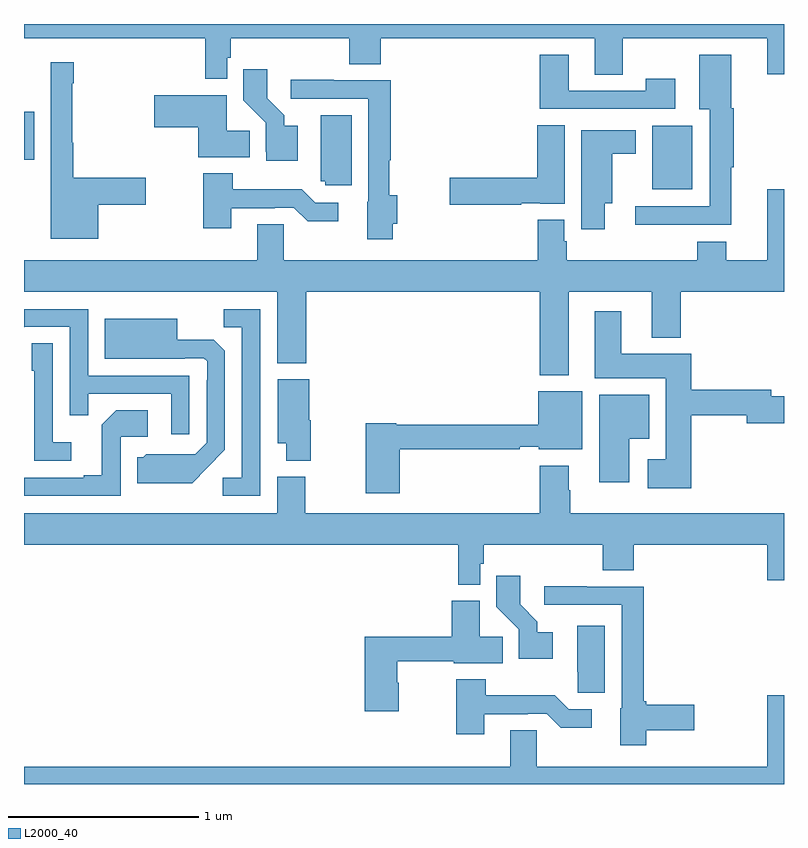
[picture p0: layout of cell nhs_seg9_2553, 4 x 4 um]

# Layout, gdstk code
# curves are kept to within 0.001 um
import gdstk
lib = gdstk.Library(unit=1e-6, precision=1e-09)
def R(c, l, rs):  # rectangles x0, y0, x1, y1
    for r in rs: c.add(gdstk.rectangle(r[:2], r[2:], *l))
def P(c, l, *ps):  # polygons
    for p in ps: c.add(gdstk.Polygon(p, *l))
L2000_40 = (2000, 40)

nhs_seg9_2553 = lib.new_cell('nhs_seg9_2553')
R(nhs_seg9_2553, L2000_40, [(260.306,1191.629,260.518,1191.964), (257,1191.785,257.053,1192.039)])
P(nhs_seg9_2553, L2000_40, [(258.069,1192.323),(258.089,1192.323),(258.089,1192.424),(258.713,1192.424),(258.713,1192.288),(258.878,1192.288),(258.878,1192.424),(260.003,1192.424),(260.003,1192.234),(260.151,1192.234),(260.151,1192.424),(260.912,1192.424),(260.912,1192.236),(261,1192.236),(261,1192.5),(257,1192.5),(257,1192.424),(257.953,1192.424),(257.953,1192.211),(258.069,1192.211)],
  [(260.428,1192.213),(260.272,1192.213),(260.272,1192.149),(259.867,1192.149),(259.867,1192.339),(259.715,1192.339),(259.715,1192.053),(260.428,1192.053)],
  [(260.722,1191.747),(260.735,1191.747),(260.735,1192.056),(260.722,1192.056),(260.722,1192.339),(260.555,1192.339),(260.555,1192.052),(260.609,1192.052),(260.609,1191.54),(260.217,1191.54),(260.217,1191.443),(260.722,1191.443)],
  [(257.392,1191.55),(257.641,1191.55),(257.641,1191.692),(257.26,1191.692),(257.26,1191.875),(257.255,1191.875),(257.255,1192.187),(257.263,1192.187),(257.263,1192.3),(257.141,1192.3),(257.141,1191.371),(257.392,1191.371)],
  [(258.442,1191.964),(258.37,1191.964),(258.37,1192.019),(258.279,1192.109),(258.279,1192.261),(258.154,1192.261),(258.154,1192.098),(258.273,1191.979),(258.273,1191.828),(258.275,1191.828),(258.275,1191.779),(258.442,1191.779)],
  [(258.942,1191.45),(258.964,1191.45),(258.964,1191.599),(258.922,1191.599),(258.922,1191.782),(258.929,1191.782),(258.929,1192.203),(258.629,1192.203),(258.629,1192.206),(258.404,1192.206),(258.404,1192.107),(258.813,1192.107),(258.813,1191.564),(258.806,1191.564),(258.806,1191.368),(258.942,1191.368)],
  [(258.188,1191.938),(258.067,1191.938),(258.067,1192.126),(257.685,1192.126),(257.685,1191.956),(257.918,1191.956),(257.918,1191.8),(258.188,1191.8)],
  [(258.724,1192.021),(258.563,1192.021),(258.563,1191.672),(258.585,1191.672),(258.585,1191.651),(258.724,1191.651)],
  [(259.616,1191.557),(259.716,1191.557),(259.716,1191.554),(259.846,1191.554),(259.846,1191.968),(259.7,1191.968),(259.7,1191.692),(259.242,1191.692),(259.242,1191.55),(259.616,1191.55)],
  [(260.056,1191.557),(260.095,1191.557),(260.095,1191.818),(260.221,1191.818),(260.221,1191.94),(259.934,1191.94),(259.934,1191.42),(260.056,1191.42)],
  [(258.091,1191.531),(258.32,1191.531),(258.32,1191.534),(258.42,1191.534),(258.493,1191.461),(258.654,1191.461),(258.654,1191.558),(258.534,1191.558),(258.461,1191.631),(258.099,1191.631),(258.099,1191.715),(257.944,1191.715),(257.944,1191.426),(258.091,1191.426)],
  [(259.867,1191.092),(260.303,1191.092),(260.303,1190.849),(260.456,1190.849),(260.456,1191.092),(261,1191.092),(261,1191.631),(260.912,1191.631),(260.912,1191.256),(260.695,1191.256),(260.695,1191.355),(260.543,1191.355),(260.543,1191.256),(259.856,1191.256),(259.856,1191.357),(259.843,1191.357),(259.843,1191.469),(259.703,1191.469),(259.703,1191.256),(258.366,1191.256),(258.366,1191.446),(258.227,1191.446),(258.227,1191.256),(257,1191.256),(257,1191.092),(258.332,1191.092),(258.332,1190.714),(258.485,1190.714),(258.485,1191.092),(259.715,1191.092),(259.715,1190.651),(259.867,1190.651)],
  [(258.243,1191),(258.052,1191),(258.052,1190.905),(258.147,1190.905),(258.147,1190.112),(258.045,1190.112),(258.045,1190.016),(258.243,1190.016)],
  [(257.871,1190.649),(257.337,1190.649),(257.337,1191),(257,1191),(257,1190.903),(257.004,1190.907),(257.241,1190.907),(257.241,1190.44),(257.339,1190.44),(257.339,1190.553),(257.775,1190.553),(257.775,1190.34),(257.871,1190.34)],
  [(260.513,1190.44),(260.804,1190.44),(260.804,1190.398),(261,1190.398),(261,1190.54),(260.932,1190.54),(260.932,1190.576),(260.513,1190.576),(260.513,1190.764),(260.143,1190.764),(260.143,1190.989),(260.003,1190.989),(260.003,1190.636),(260.378,1190.636),(260.378,1190.209),(260.283,1190.209),(260.283,1190.057),(260.513,1190.057)],
  [(257.965,1190.165),(258.057,1190.258),(258.057,1190.78),(257.998,1190.839),(257.806,1190.839),(257.806,1190.95),(257.426,1190.95),(257.426,1190.738),(257.846,1190.738),(257.846,1190.742),(257.946,1190.742),(257.964,1190.724),(257.964,1190.624),(257.961,1190.624),(257.961,1190.295),(257.901,1190.235),(257.644,1190.236),(257.628,1190.22),(257.597,1190.22),(257.597,1190.084),(257.885,1190.084)],
  [(257.248,1190.299),(257.151,1190.299),(257.151,1190.819),(257.04,1190.819),(257.04,1190.676),(257.055,1190.676),(257.055,1190.202),(257.248,1190.202)],
  [(258.51,1190.415),(258.502,1190.415),(258.502,1190.629),(258.335,1190.629),(258.335,1190.294),(258.38,1190.294),(258.38,1190.201),(258.51,1190.201)],
  [(258.977,1190.262),(259.61,1190.262),(259.61,1190.274),(259.71,1190.274),(259.71,1190.261),(259.939,1190.261),(259.939,1190.566),(259.706,1190.566),(259.706,1190.39),(258.96,1190.39),(258.96,1190.398),(258.799,1190.398),(258.799,1190.031),(258.977,1190.031)],
  [(260.185,1190.318),(260.29,1190.318),(260.29,1190.548),(260.027,1190.548),(260.027,1190.088),(260.185,1190.088)],
  [(257.508,1190.328),(257.65,1190.328),(257.65,1190.468),(257.485,1190.468),(257.409,1190.392),(257.409,1190.125),(257.315,1190.125),(257.315,1190.112),(257.001,1190.112),(257,1190.113),(257,1190.016),(257.508,1190.016)],
  [(259.401,1189.659),(259.421,1189.659),(259.421,1189.76),(260.045,1189.76),(260.045,1189.624),(260.21,1189.624),(260.21,1189.76),(260.912,1189.76),(260.912,1189.572),(261,1189.572),(261,1189.924),(259.875,1189.924),(259.875,1190.045),(259.867,1190.045),(259.867,1190.176),(259.715,1190.176),(259.715,1189.924),(258.48,1189.924),(258.48,1190.116),(258.332,1190.116),(258.332,1189.924),(257,1189.924),(257,1189.76),(259.285,1189.76),(259.285,1189.55),(259.401,1189.55)],
  [(259.783,1189.3),(259.702,1189.3),(259.702,1189.355),(259.612,1189.445),(259.612,1189.597),(259.486,1189.597),(259.486,1189.434),(259.605,1189.315),(259.605,1189.16),(259.783,1189.16)],
  [(260.274,1188.782),(260.527,1188.782),(260.527,1188.917),(260.274,1188.917),(260.274,1188.935),(260.261,1188.935),(260.261,1189.539),(259.961,1189.539),(259.961,1189.542),(259.737,1189.542),(259.737,1189.443),(260.145,1189.443),(260.145,1188.9),(260.138,1188.9),(260.138,1188.704),(260.274,1188.704)],
  [(258.972,1189.032),(258.964,1189.032),(258.964,1189.147),(259.262,1189.147),(259.262,1189.136),(259.52,1189.136),(259.52,1189.274),(259.399,1189.274),(259.399,1189.465),(259.25,1189.465),(259.25,1189.276),(258.794,1189.276),(258.794,1188.882),(258.972,1188.882)],
  [(260.056,1189.333),(259.913,1189.333),(259.913,1189.09),(259.914,1189.09),(259.914,1188.979),(260.056,1188.979)],
  [(259.423,1188.867),(259.652,1188.867),(259.652,1188.87),(259.752,1188.87),(259.825,1188.797),(259.987,1188.797),(259.987,1188.894),(259.866,1188.894),(259.793,1188.967),(259.431,1188.967),(259.431,1189.051),(259.276,1189.051),(259.276,1188.762),(259.423,1188.762)],
  [(261,1188.967),(260.912,1188.967),(260.912,1188.592),(259.698,1188.592),(259.698,1188.782),(259.559,1188.782),(259.559,1188.592),(257,1188.592),(257,1188.5),(261,1188.5)])

lib.write_gds('nhs_seg9_2553.gds')
